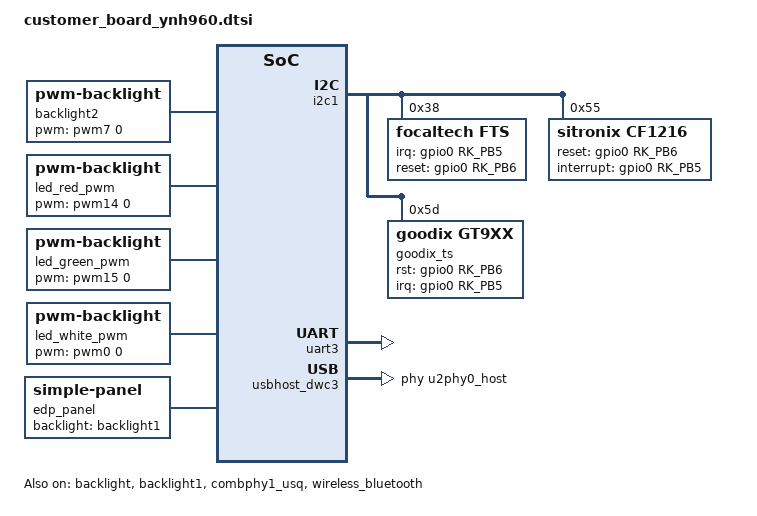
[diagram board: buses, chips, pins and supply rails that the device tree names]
// ynh960 board DTSI — git source of truth (frozen product baseline).
// Synced to linux-sdk by make apply-overlay. Do not edit only in linux-sdk/.
// Captured from the owned linux-sdk tree (already customized); no upstream vendor
// re-merge. Future vendor drops → copy needed pieces into overlay/ only.

/ {
	 backlight2: backlight2 {
	  compatible = "pwm-backlight";
	  pwms = <&pwm7 0 25000 0>;
	  brightness-levels = <
	     0 1 2 3 4 5 6 7
	     8 9 10 11 12 13 14 15
	    16 17 18 19 20 21 22 23
	    24 25 26 27 28 29 30 31
	    32 33 34 35 36 37 38 39
	    40 41 42 43 44 45 46 47
	    48 49 50 51 52 53 54 55
	    56 57 58 59 60 61 62 63
	    64 65 66 67 68 69 70 71
	    72 73 74 75 76 77 78 79
	    80 81 82 83 84 85 86 87
	    88 89 90 91 92 93 94 95
	    96 97 98 99 100 101 102 103
	   104 105 106 107 108 109 110 111
	   112 113 114 115 116 117 118 119
	   120 121 122 123 124 125 126 127
	   128 129 130 131 132 133 134 135
	   136 137 138 139 140 141 142 143
	   144 145 146 147 148 149 150 151
	   152 153 154 155 156 157 158 159
	   160 161 162 163 164 165 166 167
	   168 169 170 171 172 173 174 175
	   176 177 178 179 180 181 182 183
	   184 185 186 187 188 189 190 191
	   192 193 194 195 196 197 198 199
	   200 201 202 203 204 205 206 207
	   208 209 210 211 212 213 214 215
	   216 217 218 219 220 221 222 223
	   224 225 226 227 228 229 230 231
	   232 233 234 235 236 237 238 239
	   240 241 242 243 244 245 246 247
	   248 249 250 251 252 253 254 255
	  >;
	  default-brightness-level = <128>;
	 };
 
	led_red_pwm: led-red-pwm {
		status = "okay";
		compatible = "pwm-backlight";
		pwms = <&pwm14 0 50000 0>;
		brightness-levels = <
			  0  20  20  21  21  22  22  23
			 23  24  24  25  25  26  26  27
			 27  28  28  29  29  30  30  31
			 31  32  32  33  33  34  34  35
			 35  36  36  37  37  38  38  39
			 40  41  42  43  44  45  46  47
			 48  49  50  51  52  53  54  55
			 56  57  58  59  60  61  62  63
			 64  65  66  67  68  69  70  71
			 72  73  74  75  76  77  78  79
			 80  81  82  83  84  85  86  87
			 88  89  90  91  92  93  94  95
			 96  97  98  99 100 101 102 103
			104 105 106 107 108 109 110 111
			112 113 114 115 116 117 118 119
			120 121 122 123 124 125 126 127
			128 129 130 131 132 133 134 135
			136 137 138 139 140 141 142 143
			144 145 146 147 148 149 150 151
			152 153 154 155 156 157 158 159
			160 161 162 163 164 165 166 167
			168 169 170 171 172 173 174 175
			176 177 178 179 180 181 182 183
			184 185 186 187 188 189 190 191
			192 193 194 195 196 197 198 199
			200 201 202 203 204 205 206 207
			208 209 210 211 212 213 214 215
			216 217 218 219 220 221 222 223
			224 225 226 227 228 229 230 231
			232 233 234 235 236 237 238 239
			240 241 242 243 244 245 246 247
			248 249 250 251 252 253 254 255
		>;
		default-brightness-level = <0>;
	};
	
	led_green_pwm: led-green-pwm {
		status = "okay";
		compatible = "pwm-backlight";
		pwms = <&pwm15 0 50000 0>;
		brightness-levels = <
			  0  20  20  21  21  22  22  23
			 23  24  24  25  25  26  26  27
			 27  28  28  29  29  30  30  31
			 31  32  32  33  33  34  34  35
			 35  36  36  37  37  38  38  39
			 40  41  42  43  44  45  46  47
			 48  49  50  51  52  53  54  55
			 56  57  58  59  60  61  62  63
			 64  65  66  67  68  69  70  71
			 72  73  74  75  76  77  78  79
			 80  81  82  83  84  85  86  87
			 88  89  90  91  92  93  94  95
			 96  97  98  99 100 101 102 103
			104 105 106 107 108 109 110 111
			112 113 114 115 116 117 118 119
			120 121 122 123 124 125 126 127
			128 129 130 131 132 133 134 135
			136 137 138 139 140 141 142 143
			144 145 146 147 148 149 150 151
			152 153 154 155 156 157 158 159
			160 161 162 163 164 165 166 167
			168 169 170 171 172 173 174 175
			176 177 178 179 180 181 182 183
			184 185 186 187 188 189 190 191
			192 193 194 195 196 197 198 199
			200 201 202 203 204 205 206 207
			208 209 210 211 212 213 214 215
			216 217 218 219 220 221 222 223
			224 225 226 227 228 229 230 231
			232 233 234 235 236 237 238 239
			240 241 242 243 244 245 246 247
			248 249 250 251 252 253 254 255
		>;
		default-brightness-level = <0>;
	};
	
	led_white_pwm: led-white-pwm {
		status = "okay";
		compatible = "pwm-backlight";
		pwms = <&pwm0 0 50000 0>;
		brightness-levels = <
			  0  20  20  21  21  22  22  23
			 23  24  24  25  25  26  26  27
			 27  28  28  29  29  30  30  31
			 31  32  32  33  33  34  34  35
			 35  36  36  37  37  38  38  39
			 40  41  42  43  44  45  46  47
			 48  49  50  51  52  53  54  55
			 56  57  58  59  60  61  62  63
			 64  65  66  67  68  69  70  71
			 72  73  74  75  76  77  78  79
			 80  81  82  83  84  85  86  87
			 88  89  90  91  92  93  94  95
			 96  97  98  99 100 101 102 103
			104 105 106 107 108 109 110 111
			112 113 114 115 116 117 118 119
			120 121 122 123 124 125 126 127
			128 129 130 131 132 133 134 135
			136 137 138 139 140 141 142 143
			144 145 146 147 148 149 150 151
			152 153 154 155 156 157 158 159
			160 161 162 163 164 165 166 167
			168 169 170 171 172 173 174 175
			176 177 178 179 180 181 182 183
			184 185 186 187 188 189 190 191
			192 193 194 195 196 197 198 199
			200 201 202 203 204 205 206 207
			208 209 210 211 212 213 214 215
			216 217 218 219 220 221 222 223
			224 225 226 227 228 229 230 231
			232 233 234 235 236 237 238 239
			240 241 242 243 244 245 246 247
			248 249 250 251 252 253 254 255
		>;
		default-brightness-level = <0>;
	};
};

&pinctrl {
	/delete-node/ touch;
        own_gpio{
                own_gpio_pins: own-gpio-pins{
                        rockchip,pins =
					<4 RK_PA0 RK_FUNC_GPIO &pcfg_pull_none>, //USB_HOST_PWREN1_H
					<4 RK_PA1 RK_FUNC_GPIO &pcfg_pull_none>, //USB_HOST_PWREN2_H
					<4 RK_PA2 RK_FUNC_GPIO &pcfg_pull_none>, //USB_HOST_PWREN3_H					
					<0 RK_PB0 RK_FUNC_GPIO &pcfg_pull_none>, //GPIO-1
					<0 RK_PC4 RK_FUNC_GPIO &pcfg_pull_none>, //GPIO-2
					<0 RK_PC7 RK_FUNC_GPIO &pcfg_pull_none>, //GPIO-3 UART0_CTS_GPIO0C7
					<3 RK_PB2 RK_FUNC_GPIO &pcfg_pull_none>, //GPIO-4 COM4_TX_GPIO3_B2
					<3 RK_PB1 RK_FUNC_GPIO &pcfg_pull_none>, //GPIO-5 COM4_RX_GPIO3_B1
					<0 RK_PC2 RK_FUNC_GPIO &pcfg_pull_none>, //GPIO-6
					<4 RK_PC5 RK_FUNC_GPIO &pcfg_pull_none>, //GPIO-7 silk WG_D0
					<4 RK_PC6 RK_FUNC_GPIO &pcfg_pull_none>, //GPIO-8 silk WG_D1
					<3 RK_PD3 RK_FUNC_GPIO &pcfg_pull_none>, //Bell-CTL					
					<3 RK_PD7 RK_FUNC_GPIO &pcfg_pull_none>, //Relay-CTL					
					<0 RK_PA4 RK_FUNC_GPIO &pcfg_pull_none>,//LED_RED
					<0 RK_PA6 RK_FUNC_GPIO &pcfg_pull_none>;//LED_BLUE
                };
        };
};
&chosen{
	board="ynh960";
	rk3566;
};

&own_boot_gpio{
	pinctrl-names = "default";
	pinctrl-0 = <&own_gpio_pins>;
	LED_RED {
		gpios = <&gpio0 RK_PA4 GPIO_ACTIVE_HIGH>;
		default-value = "1";
	};	
	LED_BLUE {
		gpios = <&gpio0 RK_PA6 GPIO_ACTIVE_HIGH>;
		default-value = "0";
	};		
};

&own_gpio{
	pinctrl-names = "default";
	pinctrl-0 = <&own_gpio_pins>;
	LED_RED {
		gpios = <&gpio0 RK_PA4 GPIO_ACTIVE_HIGH>;
		default-mode = "out";
		default-value = "0";
		label = "LIGHT_BOARD_RED";
	};	
	LED_BLUE {
		gpios = <&gpio0 RK_PA6 GPIO_ACTIVE_HIGH>;
		default-mode = "out";
		default-value = "1";
		label = "LIGHT_BOARD_BLUE";
	};	
	USB_HOST_PWREN1_H {
		gpios = <&gpio4 RK_PA0 GPIO_ACTIVE_HIGH>;
		default-mode = "out";
		default-value = "1";
		label = "USB_1";
	};	
	USB_HOST_PWREN2_H {
		gpios = <&gpio4 RK_PA1 GPIO_ACTIVE_HIGH>;
		default-mode = "out";
		default-value = "1";
		label = "USB_2";
	};
	USB_HOST_PWREN3_H {
		gpios = <&gpio4 RK_PA2 GPIO_ACTIVE_HIGH>;
		default-mode = "out";
		default-value = "1";
		label = "USB_3";
	};	
	GPIO_1 {
		gpios = <&gpio0 RK_PB0 GPIO_ACTIVE_HIGH>;
		default-mode = "out";
		default-value = "1";
		label = "GPIO_1";
	};		
	GPIO_2 {
		gpios = <&gpio0 RK_PC4 GPIO_ACTIVE_HIGH>;
		default-mode = "out";
		default-value = "1";
		label = "GPIO_2";
	};	
	GPIO_3 {
		gpios = <&gpio0 RK_PC7 GPIO_ACTIVE_HIGH>;
		default-mode = "out";
		default-value = "1";
		label = "GPIO_3";
	};		
	GPIO_4 {
		gpios = <&gpio3 RK_PB2 GPIO_ACTIVE_HIGH>;
		default-mode = "out";
		default-value = "1";
		label = "GPIO_4";
	};	
	GPIO_5 {
		gpios = <&gpio3 RK_PB1 GPIO_ACTIVE_HIGH>;
		default-mode = "out";
		default-value = "1";
		label = "GPIO_5";
	};	
	GPIO_6 {
		gpios = <&gpio0 RK_PC2 GPIO_ACTIVE_HIGH>;
		default-mode = "out";
		default-value = "1";
		label = "GPIO_6";
	};
	GPIO_7 {
		gpios = <&gpio4 RK_PC5 GPIO_ACTIVE_HIGH>;
		default-mode = "out";
		default-value = "1";
		label = "GPIO_7";
	};	
	GPIO_8 {
		gpios = <&gpio4 RK_PC6 GPIO_ACTIVE_HIGH>;
		default-mode = "out";
		default-value = "1";
		label = "GPIO_8";
	};		
	Bell_CTL {
		gpios = <&gpio3 RK_PD3 GPIO_ACTIVE_HIGH>;
		default-mode = "out";
		default-value = "0";
		label = "BELL";
	};			
	Relay_CTL {
		gpios = <&gpio3 RK_PD7 GPIO_ACTIVE_HIGH>;
		default-mode = "out";
		default-value = "0";
		label = "RELAY";
	};
};

&edp_panel {
 compatible ="simple-panel";
 backlight = <&backlight1>;
};

&i2c1 {
	status = "okay";

	focaltech: focaltech@38 {
                status = "okay";
                compatible = "focaltech,fts";
                reg = <0x38>;
                focaltech,irq-gpio = <&gpio0 RK_PB5 IRQ_TYPE_LEVEL_LOW>;
                focaltech,reset-gpio = <&gpio0 RK_PB6 GPIO_ACTIVE_HIGH>;
				focaltech,max-touch-number = <1>;			
				focaltech,display-coords =  <0 0 720 1280>;               
                /**focaltech,have-key = <1>;**/
                /**focaltech,key-number = <1>;**/
                /**focaltech,key-x-coords = <300>;**/
                /**focaltech,key-y-coords = <1200>;**/
        };
	
	sitronix@55 {
            compatible = "sitronix,cf1216";
            reg = <0x55>;
            sitronix,reset-gpios = <&gpio0 RK_PB6 GPIO_ACTIVE_HIGH>;
            sitronix,interrupt-gpios = <&gpio0 RK_PB5 IRQ_TYPE_LEVEL_LOW>;
	}; 	

  	goodix_ts@5d {
			compatible = "goodix,gt9xx";
			reg = <0x5d>;
			goodix,rst-gpio = <&gpio0 RK_PB6 GPIO_ACTIVE_HIGH>;
			goodix,irq-gpio = <&gpio0 RK_PB5 IRQ_TYPE_LEVEL_LOW>;
            swap-xy = <0>;
            swap-x = <0>;
            swap-y = <0>;
			goodix,cfg-group = [01 20 03 00 05 05 39 00 01 C8 28 0F 50 32 03 05 00 00 00 00 00 00 00 18 1A 1E 14 8C 2B 0E 86 88 B5 06 00 00 00 00 02 1C 00 01 00 00 00 03 00 00 00 00 00 78 96 94 D5 02 07 00 00 04 B2 7A 00 9D 80 00 8C 86 00 7C 8C 00 6F 92 00 6F 00 00 00 00 00 00 00 00 00 00 00 00 00 00 00 00 00 00 00 00 00 00 00 00 00 00 00 00 00 00 00 00 00 00 00 00 1C 1A 18 16 14 12 10 0E 0C 0A 08 06 04 02 00 00 00 00 00 00 00 00 00 00 00 00 00 00 00 00 26 24 22 21 20 1F 1E 1D 1C 18 16 14 13 12 10 0F 0C 0A 08 06 04 02 00 FF FF FF 00 00 00 00 00 00 00 00 00 00 00 00 00 00 00 00 A2 01];
		};
};

&lcd_param{	  
	status = "okay";
	lcd0_x = <0>;
	lcd0_y = <0>;
};

&uart3 {
 status = "okay";
 pinctrl-0 = <&uart3m1_xfer>;
};

&backlight {
	status = "okay";
	lcd_pwm_pol = <0>;
	lcd_backlight_min = <20>;
	lcd_backlight_max = <255>;
};

&backlight1 {
	status = "okay";
	pwms = <&pwm6 0 25000 0>;
	lcd_pwm_pol = <0>;
	lcd_backlight_min = <20>;
	lcd_backlight_max = <255>;
};

&backlight2 {
	status = "okay";
	lcd_pwm_pol = <0>;
	lcd_backlight_min = <20>;
	lcd_backlight_max = <255>;
};

 &lvds1 {
	status = "disabled";
};

&csi2_dphy0 {
	status = "disabled";
	/delete-node/ ports;
};

&csi2_dphy1 {
	status = "disabled";
};

&csi2_dphy2 {
	status = "disabled";
};

&i2c2 {
 /delete-node/ gc8034@37;
};

&i2c4 {
	 status = "disabled";
 /delete-node/ gc8034@37;
 /delete-node/ os04a10@36;
 /delete-node/ ov5695@36;

};

&usbhost_dwc3 {
        phys = <&u2phy0_host>;
        phy-names = "usb2-phy";
        maximum-speed = "high-speed";
         status = "okay";
 };
 
&combphy1_usq {
        rockchip,dis-u3otg1-port; /* 配置 dwc3_1 控制器最高支持 high speed */
         status = "okay";
 };

&dsi0_panel {
       power-supply = <&vcc3v3_lcd0_n>;
       reset-gpios = <&gpio3 26 1>;
       pinctrl-names = "default";
       pinctrl-0 = <&lcd0_rst_gpio>;
};

&vcc3v3_lcd0_n {
 gpio = <&gpio3 25 0>;
 enable-active-high;
};

&wireless_bluetooth {
 compatible = "bluetooth-platdata";
 clocks = <&rk809 1>;
 clock-names = "ext_clock";

 uart_rts_gpios = <&gpio2 13 1>;
 pinctrl-names = "default", "rts_gpio";
 pinctrl-0 = <&uart1m0_rtsn>;
 pinctrl-1 = <&uart1_gpios>;
 BT,reset_gpio = <&gpio2 15 0>;
 BT,wake_gpio = <&gpio2 17 0>;
 BT,wake_host_irq = <&gpio2 16 0>;
 status = "okay";
};

#include "ynh960-display.dtsi" /* ynh960 overlay */

#include "ynh960-panel-init.dtsi" /* ynh960 overlay */

#include "ynh960-linux-root.dtsi" /* ynh960 overlay */

#include "ynh960-usb-gadget.dtsi" /* ynh960 overlay */

#include "ynh960-usb-host.dtsi" /* ynh960 overlay */

#include "ynh960-evb-trim.dtsi" /* ynh960 overlay */

#include "ynh960-touch.dtsi" /* ynh960 overlay */

#include "ynh960-own-gpio.dtsi" /* ynh960 overlay */

#include "ynh960-uart5-gmac.dtsi" /* ynh960 overlay */

#include "ynh960-uart7-pwm.dtsi" /* ynh960 overlay */

#include "ynh960-npu-vop.dtsi" /* ynh960 overlay */

#include "ynh960-rtc.dtsi" /* ynh960 overlay */

#include "ynh960-optee.dtsi" /* ynh960 overlay */

#include "ynh960-display.dtsi"
#include "ynh960-panel-init.dtsi"
#include "ynh960-linux-root.dtsi"
#include "ynh960-usb-gadget.dtsi"
#include "ynh960-usb-host.dtsi"
#include "ynh960-evb-trim.dtsi"
#include "ynh960-touch.dtsi"
#include "ynh960-own-gpio.dtsi"
#include "ynh960-uart5-gmac.dtsi"
#include "ynh960-uart7-pwm.dtsi"
#include "ynh960-npu-vop.dtsi"
#include "ynh960-rtc.dtsi"
#include "ynh960-optee.dtsi"
#include "ynh960-uart-dma.dtsi"
#include "ynh960-mpp-dmc.dtsi"
